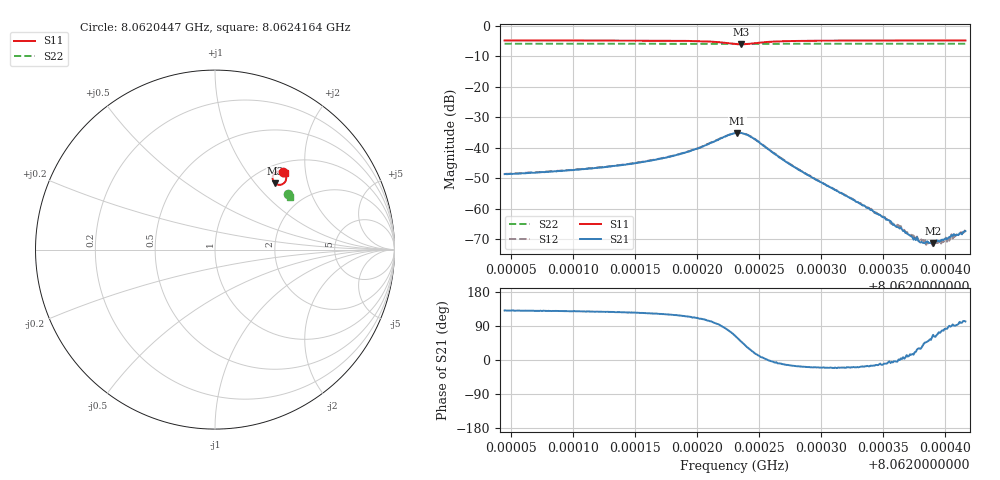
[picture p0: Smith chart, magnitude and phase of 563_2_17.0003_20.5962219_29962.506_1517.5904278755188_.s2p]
#  HZ  S  RI  R  50.00
! Rohde & Schwarz Vector Network Analyzer
! Rohde-Schwarz,ZNB20-2Port,1311601062101988,3.16
! Created: UTC 3/20/2024, 11:17:17 PM
! freq[Hz]  re:S11  im:S11  re:S21  im:S21  re:S12  im:S12  re:S22  im:S22
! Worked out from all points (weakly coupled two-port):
!   401 points, 8.0620447 GHz to 8.0624164 GHz, reference 50 ohm
!   highest |S21| = -35.09 dB at 8.0622324 GHz (marker M1); lowest = -71.3 dB at 8.0623904 GHz (marker M2)
!   lowest |S11| = -6.0 dB at 8.0622352 GHz (marker M3), VSWR 2.99, Z = 64.9 + j63.8 ohm
!   |S11| at or under -10 dB: nowhere
!   |S22| runs from -5.9 to -5.9 dB; largest |S21 - S12| = 0.0012
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8.06204474e9  0.3799 0.4329  -0.00242 0.00282  -0.00226 0.00298  0.4043 0.3089
8.06210698e9  0.3855 0.4272  -0.00278 0.00351  -0.00259 0.00369  0.4065 0.3058
8.06214043e9  0.3893 0.4224  -0.00309 0.00426  -0.00287 0.00449  0.4078 0.3038
8.06216923e9  0.3933 0.4153  -0.00345 0.00558  -0.00317 0.00584  0.4089 0.3019
8.06219339e9  0.3966 0.4035  -0.0036 0.00795  -0.00315 0.00825  0.4097 0.3003
8.06221662e9  0.3894 0.3763  -0.00118 0.0134  -0.000309 0.0137  0.4097 0.2981
8.06223056e9  0.3525 0.3613  0.0077 0.0156  0.00847 0.0153  0.4083 0.2973
8.06223241e9  0.3452 0.3632  0.00922 0.015  0.00995 0.0145  0.4082 0.2974
8.0622352e9  0.3348 0.3691  0.0114 0.0133  0.0121 0.0129  0.4079 0.2977
8.06224449e9  0.321 0.4018  0.0136 0.00576  0.014 0.00502  0.408 0.2988
8.06226772e9  0.3496 0.4355  0.00662 -0.00112  0.00663 -0.0016  0.4105 0.2989
8.0622928e9  0.3669 0.4359  0.00309 -0.00109  0.00304 -0.00128  0.4121 0.2975
8.06234019e9  0.3796 0.4312  0.000926 -0.000239  0.000949 -0.000333  0.4141 0.2948
8.06235505e9  0.382 0.4297  0.000644 -4.07e-05  0.000628 -0.00012  0.4147 0.294
8.0623597e9  0.3825 0.4295  0.000526 -3.15e-05  0.000545 -6.71e-05  0.4149 0.2937
8.06236342e9  0.383 0.4291  0.000477 -6.3e-07  0.000519 -2.79e-05  0.4149 0.2936
8.06236992e9  0.3838 0.4286  0.000383 6.21e-05  0.000406 1.62e-05  0.4152 0.2932
8.06238014e9  0.3851 0.4277  0.000245 0.000139  0.000296 0.000147  0.4157 0.2926
8.0623885e9  0.3858 0.4271  0.000168 0.000223  0.000174 0.000222  0.416 0.2921
8.06239036e9  0.386 0.4271  0.000109 0.000249  0.000124 0.000212  0.4159 0.2922
8.06240244e9  0.3873 0.4262  1.99e-05 0.000332  3.43e-05 0.000326  0.4164 0.2914
8.06241638e9  0.3886 0.4251  -8.83e-05 0.000424  -7.19e-05 0.00045  0.4169 0.2908
